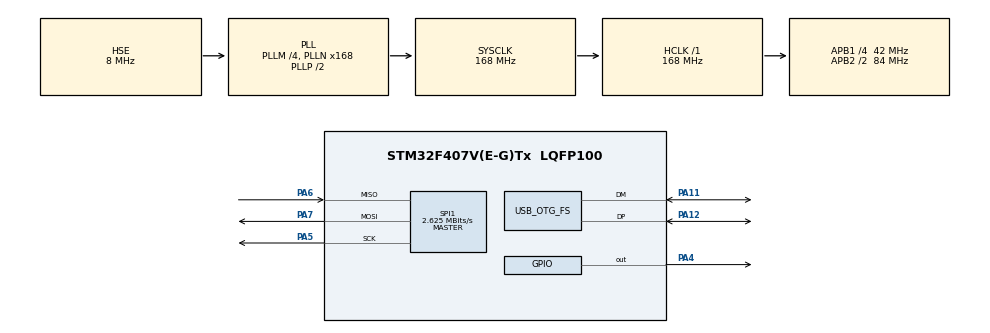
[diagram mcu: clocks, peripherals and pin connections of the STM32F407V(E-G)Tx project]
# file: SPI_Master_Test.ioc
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Mcu.Family=STM32F4
Mcu.Name=STM32F407V(E-G)Tx
Mcu.Package=LQFP100
NVIC.OTG_FS_IRQn=true\:0\:0\:false\:false\:true\:false\:true\:true
NVIC.PriorityGroup=NVIC_PRIORITYGROUP_0
PA11.Mode=Device_Only
PA11.Signal=USB_OTG_FS_DM
PA12.Mode=Device_Only
PA12.Signal=USB_OTG_FS_DP
PA4.Signal=GPIO_Output
PA5.Mode=Full_Duplex_Master
PA5.Signal=SPI1_SCK
PA6.Mode=Full_Duplex_Master
PA6.Signal=SPI1_MISO
PA7.Mode=Full_Duplex_Master
PA7.Signal=SPI1_MOSI
PC14-OSC32_IN.Mode=LSE-External-Oscillator
PC14-OSC32_IN.Signal=RCC_OSC32_IN
PC15-OSC32_OUT.Mode=LSE-External-Oscillator
PC15-OSC32_OUT.Signal=RCC_OSC32_OUT
PH0-OSC_IN.Mode=HSE-External-Oscillator
PH0-OSC_IN.Signal=RCC_OSC_IN
PH1-OSC_OUT.Mode=HSE-External-Oscillator
PH1-OSC_OUT.Signal=RCC_OSC_OUT
ProjectManager.HeapSize=0x200
ProjectManager.StackSize=0x400
ProjectManager.TargetToolchain=Makefile
RCC.48MHZClocksFreq_Value=48000000
RCC.AHBFreq_Value=168000000
RCC.APB1CLKDivider=RCC_HCLK_DIV4
RCC.APB1Freq_Value=42000000
RCC.APB1TimFreq_Value=84000000
RCC.APB2CLKDivider=RCC_HCLK_DIV2
RCC.APB2Freq_Value=84000000
RCC.APB2TimFreq_Value=168000000
RCC.CortexFreq_Value=168000000
RCC.HCLKFreq_Value=168000000
RCC.HSE_VALUE=8000000
RCC.HSI_VALUE=16000000
RCC.PLLM=4
RCC.PLLN=168
RCC.PLLQ=7
RCC.SYSCLKFreq_VALUE=168000000
RCC.SYSCLKSource=RCC_SYSCLKSOURCE_PLLCLK
RCC.VCOOutputFreq_Value=336000000
SPI1.BaudRatePrescaler=SPI_BAUDRATEPRESCALER_32
SPI1.CalculateBaudRate=2.625 MBits/s
SPI1.Direction=SPI_DIRECTION_2LINES
SPI1.Mode=SPI_MODE_MASTER
SPI1.VirtualType=VM_MASTER
USB_DEVICE.CLASS_NAME_FS=CDC
USB_DEVICE.VirtualMode-CDC_FS=Cdc
USB_DEVICE.VirtualModeFS=Cdc_FS
USB_OTG_FS.VirtualMode=Device_Only
VP_USB_DEVICE_VS_USB_DEVICE_CDC_FS.Mode=CDC_FS
board=STM32F407G-DISC1

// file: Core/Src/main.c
/* USER CODE BEGIN Header */
/**
  ******************************************************************************
  * @file           : main.c
  * @brief          : Main program body
  ******************************************************************************
  * @attention
  *
  * Copyright (c) 2024 STMicroelectronics.
  * All rights reserved.
  *
  * This software is licensed under terms that can be found in the LICENSE file
  * in the root directory of this software component.
  * If no LICENSE file comes with this software, it is provided AS-IS.
  *
  ******************************************************************************
  */
/* USER CODE END Header */
#include "main.h"
#include "usb_device.h"

/* USER CODE BEGIN Includes */
#include "CANSPI.h"
#include "usbd_cdc_if.h"
#include "stdio.h"
/* USER CODE END Includes */

SPI_HandleTypeDef hspi1;

void SystemClock_Config(void);
static void MX_GPIO_Init(void);
static void MX_SPI1_Init(void);

int main(void)
{

  /* MCU Configuration--------------------------------------------------------*/

  /* Reset of all peripherals, Initializes the Flash interface and the Systick. */
  HAL_Init();

  /* USER CODE BEGIN Init */
  HAL_GPIO_WritePin(GPIOA, GPIO_PIN_4, GPIO_PIN_SET);
  /* USER CODE END Init */

  /* Configure the system clock */
  SystemClock_Config();

  /* Initialize all configured peripherals */
  MX_GPIO_Init();
  MX_SPI1_Init();
  MX_USB_DEVICE_Init();
  /* USER CODE BEGIN 2 */
  CANSPI_Initialize();

  uCAN_MSG rxMessage;
  char rxMessageBuffer[100];

  /* USER CODE END 2 */

  /* Infinite loop */
  /* USER CODE BEGIN WHILE */
  while (1)
  {
    if(CANSPI_Receive(&rxMessage))
    {
      sprintf(rxMessageBuffer, "Received: ID=0x%08lX\nDLC=%u\nData=%02X %02X %02X %02X %02X %02X %02X %02X\n",
        (unsigned int)(rxMessage.frame.id & 0x1FFFFFFF), rxMessage.frame.dlc,
        rxMessage.frame.data0, rxMessage.frame.data1,
        rxMessage.frame.data2, rxMessage.frame.data3,
        rxMessage.frame.data4, rxMessage.frame.data5,
        rxMessage.frame.data6, rxMessage.frame.data7);
      CDC_Transmit_FS((uint8_t *)rxMessageBuffer, strlen(rxMessageBuffer));
    }
  }
    /* USER CODE END WHILE */

  }

void SystemClock_Config(void)
{
  RCC_OscInitTypeDef RCC_OscInitStruct = {0};
  RCC_ClkInitTypeDef RCC_ClkInitStruct = {0};

  /** Configure the main internal regulator output voltage
  */
  __HAL_RCC_PWR_CLK_ENABLE();
  __HAL_PWR_VOLTAGESCALING_CONFIG(PWR_REGULATOR_VOLTAGE_SCALE1);

  /** Initializes the RCC Oscillators according to the specified parameters
  * in the RCC_OscInitTypeDef structure.
  */
  RCC_OscInitStruct.OscillatorType = RCC_OSCILLATORTYPE_HSE;
  RCC_OscInitStruct.HSEState = RCC_HSE_ON;
  RCC_OscInitStruct.PLL.PLLState = RCC_PLL_ON;
  RCC_OscInitStruct.PLL.PLLSource = RCC_PLLSOURCE_HSE;
  RCC_OscInitStruct.PLL.PLLM = 4;
  RCC_OscInitStruct.PLL.PLLN = 168;
  RCC_OscInitStruct.PLL.PLLP = RCC_PLLP_DIV2;
  RCC_OscInitStruct.PLL.PLLQ = 7;
  if (HAL_RCC_OscConfig(&RCC_OscInitStruct) != HAL_OK)
  {
    Error_Handler();
  }

  /** Initializes the CPU, AHB and APB buses clocks
  */
  RCC_ClkInitStruct.ClockType = RCC_CLOCKTYPE_HCLK|RCC_CLOCKTYPE_SYSCLK
                              |RCC_CLOCKTYPE_PCLK1|RCC_CLOCKTYPE_PCLK2;
  RCC_ClkInitStruct.SYSCLKSource = RCC_SYSCLKSOURCE_PLLCLK;
  RCC_ClkInitStruct.AHBCLKDivider = RCC_SYSCLK_DIV1;
  RCC_ClkInitStruct.APB1CLKDivider = RCC_HCLK_DIV4;
  RCC_ClkInitStruct.APB2CLKDivider = RCC_HCLK_DIV2;

  if (HAL_RCC_ClockConfig(&RCC_ClkInitStruct, FLASH_LATENCY_5) != HAL_OK)
  {
    Error_Handler();
  }
}

static void MX_SPI1_Init(void)
{

  /* SPI1 parameter configuration*/
  hspi1.Instance = SPI1;
  hspi1.Init.Mode = SPI_MODE_MASTER;
  hspi1.Init.Direction = SPI_DIRECTION_2LINES;
  hspi1.Init.DataSize = SPI_DATASIZE_8BIT;
  hspi1.Init.CLKPolarity = SPI_POLARITY_LOW;
  hspi1.Init.CLKPhase = SPI_PHASE_1EDGE;
  hspi1.Init.NSS = SPI_NSS_SOFT;
  hspi1.Init.BaudRatePrescaler = SPI_BAUDRATEPRESCALER_32;
  hspi1.Init.FirstBit = SPI_FIRSTBIT_MSB;
  hspi1.Init.TIMode = SPI_TIMODE_DISABLE;
  hspi1.Init.CRCCalculation = SPI_CRCCALCULATION_DISABLE;
  hspi1.Init.CRCPolynomial = 10;
  if (HAL_SPI_Init(&hspi1) != HAL_OK)
  {
    Error_Handler();
  }

}

static void MX_GPIO_Init(void)
{
  GPIO_InitTypeDef GPIO_InitStruct = {0};

  /* GPIO Ports Clock Enable */
  __HAL_RCC_GPIOC_CLK_ENABLE();
  __HAL_RCC_GPIOH_CLK_ENABLE();
  __HAL_RCC_GPIOA_CLK_ENABLE();

  /*Configure GPIO pin Output Level */
  HAL_GPIO_WritePin(GPIOA, GPIO_PIN_4, GPIO_PIN_RESET);

  /*Configure GPIO pin : PA4 */
  GPIO_InitStruct.Pin = GPIO_PIN_4;
  GPIO_InitStruct.Mode = GPIO_MODE_OUTPUT_PP;
  GPIO_InitStruct.Pull = GPIO_NOPULL;
  GPIO_InitStruct.Speed = GPIO_SPEED_FREQ_LOW;
  HAL_GPIO_Init(GPIOA, &GPIO_InitStruct);

}

void Error_Handler(void)
{
  __disable_irq();
  while (1)
  {
  }
}
